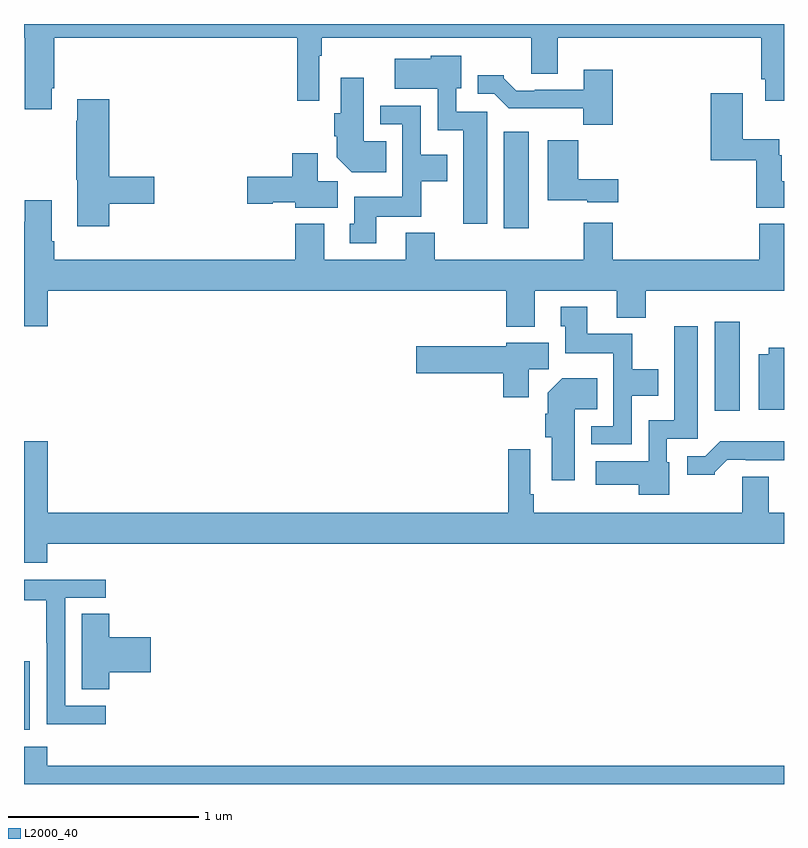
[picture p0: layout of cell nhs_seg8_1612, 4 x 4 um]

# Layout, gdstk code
import gdstk
lib = gdstk.Library(unit=1e-6, precision=1e-09)
def R(c, l, rs):  # rectangles x0, y0, x1, y1
    for r in rs: c.add(gdstk.rectangle(r[:2], r[2:], *l))
def P(c, l, *ps):  # polygons
    for p in ps: c.add(gdstk.Polygon(p, *l))
L2000_40 = (2000, 40)

nhs_seg8_1612 = lib.new_cell('nhs_seg8_1612')
R(nhs_seg8_1612, L2000_40, [(213,1118.186,213.031,1118.547), (216.635,1119.864,216.766,1120.333), (215.525,1120.824,215.656,1121.332)])
P(nhs_seg8_1612, L2000_40, [(213.145,1121.563),(213.158,1121.563),(213.158,1121.828),(214.438,1121.828),(214.438,1121.496),(214.554,1121.496),(214.554,1121.732),(214.567,1121.732),(214.567,1121.828),(215.669,1121.828),(215.669,1121.638),(215.809,1121.638),(215.809,1121.828),(216.88,1121.828),(216.88,1121.608),(216.9,1121.608),(216.9,1121.496),(217,1121.496),(217,1121.9),(213,1121.9),(213,1121.828),(213.005,1121.828),(213.005,1121.451),(213.145,1121.451)],
  [(215.437,1121.439),(215.274,1121.439),(215.274,1121.562),(215.302,1121.562),(215.302,1121.734),(215.142,1121.734),(215.142,1121.716),(214.95,1121.716),(214.95,1121.558),(215.178,1121.558),(215.178,1121.342),(215.312,1121.342),(215.312,1120.848),(215.437,1120.848)],
  [(216.098,1121.659),(215.945,1121.659),(215.945,1121.553),(215.689,1121.553),(215.689,1121.55),(215.59,1121.55),(215.526,1121.614),(215.526,1121.629),(215.387,1121.629),(215.387,1121.532),(215.475,1121.532),(215.551,1121.456),(215.943,1121.456),(215.943,1121.369),(216.098,1121.369)],
  [(214.907,1121.284),(214.789,1121.284),(214.789,1121.617),(214.667,1121.617),(214.667,1121.43),(214.634,1121.43),(214.634,1121.308),(214.646,1121.308),(214.646,1121.198),(214.724,1121.12),(214.907,1121.12)],
  [(217,1121.072),(216.988,1121.072),(216.988,1121.208),(216.976,1121.208),(216.976,1121.293),(216.784,1121.293),(216.784,1121.536),(216.614,1121.536),(216.614,1121.183),(216.854,1121.183),(216.854,1120.934),(217,1120.934)],
  [(213.449,1120.954),(213.685,1120.954),(213.685,1121.096),(213.449,1121.096),(213.449,1121.503),(213.281,1121.503),(213.281,1121.39),(213.274,1121.39),(213.274,1121.079),(213.281,1121.079),(213.281,1120.836),(213.449,1120.836)],
  [(214.855,1120.886),(215.091,1120.886),(215.091,1121.072),(215.227,1121.072),(215.227,1121.212),(215.088,1121.212),(215.088,1121.469),(214.875,1121.469),(214.875,1121.373),(214.992,1121.373),(214.992,1120.99),(214.739,1120.99),(214.739,1120.848),(214.715,1120.848),(214.715,1120.746),(214.855,1120.746)],
  [(216.127,1121.083),(215.918,1121.083),(215.918,1121.287),(215.756,1121.287),(215.756,1120.973),(215.964,1120.973),(215.964,1120.961),(216.127,1120.961)],
  [(214.651,1121.072),(214.546,1121.072),(214.546,1121.221),(214.412,1121.221),(214.412,1121.096),(214.176,1121.096),(214.176,1120.954),(214.308,1120.954),(214.308,1120.961),(214.428,1120.961),(214.428,1120.934),(214.651,1120.934)],
  [(215.689,1120.496),(216.119,1120.496),(216.119,1120.355),(216.272,1120.355),(216.272,1120.496),(217,1120.496),(217,1120.849),(216.869,1120.849),(216.869,1120.66),(216.098,1120.66),(216.098,1120.855),(215.945,1120.855),(215.945,1120.66),(215.162,1120.66),(215.162,1120.801),(215.009,1120.801),(215.009,1120.66),(214.579,1120.66),(214.579,1120.849),(214.427,1120.849),(214.427,1120.66),(213.158,1120.66),(213.158,1120.756),(213.145,1120.756),(213.145,1120.972),(213.005,1120.972),(213.005,1120.859),(213,1120.859),(213,1120.308),(213.124,1120.308),(213.124,1120.496),(215.537,1120.496),(215.537,1120.307),(215.689,1120.307)],
  [(216.198,1119.944),(216.337,1119.944),(216.337,1120.084),(216.201,1120.084),(216.201,1120.27),(215.965,1120.27),(215.965,1120.411),(215.825,1120.411),(215.825,1120.308),(215.849,1120.308),(215.849,1120.166),(216.102,1120.166),(216.102,1119.783),(215.985,1119.783),(215.985,1119.687),(216.198,1119.687)],
  [(216.397,1119.594),(216.384,1119.594),(216.384,1119.717),(216.547,1119.717),(216.547,1120.309),(216.422,1120.309),(216.422,1119.814),(216.288,1119.814),(216.288,1119.598),(216.009,1119.598),(216.009,1119.476),(216.236,1119.476),(216.236,1119.422),(216.397,1119.422)],
  [(215.656,1120.084),(215.761,1120.084),(215.761,1120.222),(215.538,1120.222),(215.538,1120.203),(215.064,1120.203),(215.064,1120.061),(215.522,1120.061),(215.522,1119.936),(215.656,1119.936)],
  [(217,1120.195),(216.921,1120.195),(216.921,1120.162),(216.866,1120.162),(216.866,1119.869),(217,1119.869)],
  [(215.899,1119.872),(216.017,1119.872),(216.017,1120.036),(215.834,1120.036),(215.756,1119.958),(215.756,1119.848),(215.744,1119.848),(215.744,1119.726),(215.777,1119.726),(215.777,1119.498),(215.899,1119.498)],
  [(216.636,1119.542),(216.7,1119.606),(216.799,1119.606),(216.799,1119.603),(217,1119.603),(217,1119.703),(216.664,1119.703),(216.585,1119.624),(216.492,1119.624),(216.492,1119.527),(216.636,1119.527)],
  [(213.122,1119.164),(217,1119.164),(217,1119.328),(216.919,1119.328),(216.919,1119.518),(216.779,1119.518),(216.779,1119.328),(215.684,1119.328),(215.684,1119.424),(215.664,1119.424),(215.664,1119.661),(215.548,1119.661),(215.548,1119.328),(213.124,1119.328),(213.124,1119.703),(213,1119.703),(213,1119.065),(213.122,1119.065)],
  [(213.43,1118.313),(213.216,1118.313),(213.216,1118.88),(213.43,1118.88),(213.43,1118.976),(213,1118.976),(213,1118.868),(213.118,1118.868),(213.118,1118.644),(213.12,1118.644),(213.12,1118.215),(213.43,1118.215)],
  [(213.449,1118.489),(213.667,1118.489),(213.667,1118.672),(213.449,1118.672),(213.449,1118.795),(213.305,1118.795),(213.305,1118.398),(213.449,1118.398)],
  [(217,1117.996),(213.122,1117.996),(213.122,1118.095),(213,1118.095),(213,1117.9),(217,1117.9)])

lib.write_gds('nhs_seg8_1612.gds')
